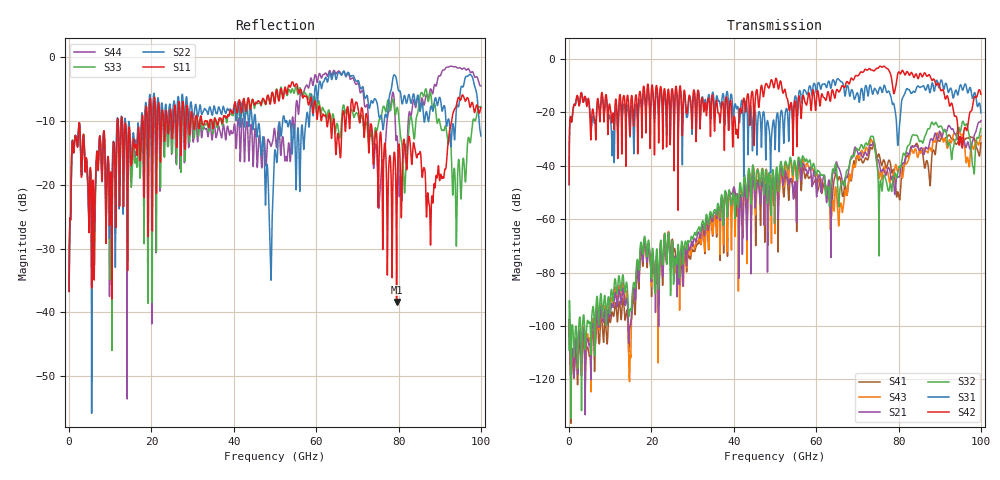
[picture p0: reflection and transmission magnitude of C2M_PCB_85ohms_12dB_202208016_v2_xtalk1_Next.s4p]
! Info: Touchstone file created by Circ.  Input file=Intel_C2M_200G_2p5in_202208016_staggered.circ
# Hz S RI R 50
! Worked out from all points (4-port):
!   10000 points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, 10 MHz to 100 GHz, reference 50 ohm
!   strongest paths, dB at 10 MHz, 25.01 GHz, 50.01 GHz, 75.01 GHz, 100 GHz:
!     S42: -47.0, -11.2, -8.4, -3.5, -13.2
!     S31: -47.1, -13.1, -33.5, -13.0, -20.3
!     S32: -109.2, -68.5, -49.1, -43.8, -26.1
!     S21: -98.3, -68.1, -47.9, -37.7, -23.1
!     S43: -98.7, -68.3, -65.3, -42.3, -29.0
!     S41: -97.7, -67.9, -51.7, -36.4, -31.4
!   lowest |S11| = -38.4 dB at 79.53 GHz (marker M1), VSWR 1.02, Z = 49 - j0.641 ohm
!   |S11| at or under -10 dB: start of sweep to 11.73 GHz; 12.92 GHz to 17.69 GHz (4.771 GHz wide, 31.2 % of centre); 72.48 GHz to 92.88 GHz (20.4 GHz wide, 24.7 % of centre)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
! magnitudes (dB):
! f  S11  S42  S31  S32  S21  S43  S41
! 10 MHz  -36.7  -47.0  -47.1  -109.2  -98.3  -98.7  -97.7
! 3.17 GHz  -16.5  -14.1  -13.5  -104.6  -108.5  -108.7  -112.1
! 48.99 GHz  -6.8  -8.2  -38.2  -56.7  -56.3  -48.5  -51.8
! 65.37 GHz  -12.1  -12.2  -7.5  -53.2  -40.7  -60.4  -45.2
! 79.53 GHz  -38.4  -8.4  -24.7  -44.6  -44.5  -40.7  -51.8
! 95.13 GHz  -6.6  -29.1  -9.8  -26.6  -31.6  -28.5  -31.0
! 100 GHz  -7.9  -13.2  -20.3  -26.1  -23.1  -29.0  -31.4
